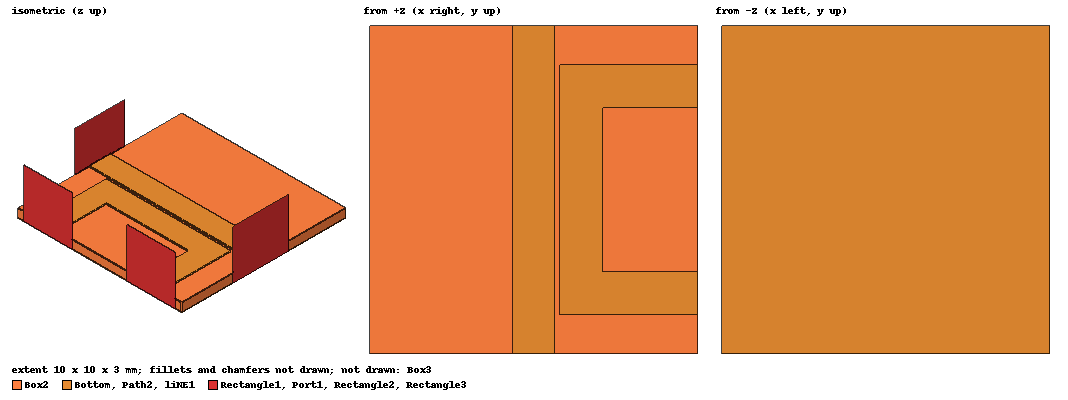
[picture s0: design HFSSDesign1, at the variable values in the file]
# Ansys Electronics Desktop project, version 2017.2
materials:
  vacuum: permittivity=1
  copper: permeability=0.999991 conductivity=58000000
  Rogers RO3003 (tm): permittivity=3 dielectric_loss_tangent=0.0013

design HFSSDesign1 (HFSS, DrivenModal, model units mm)
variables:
  Xdim = 10mm
  Ydim = 10mm
  CopperH = 35um
  SuBH = 0.02in
  W50 = 1.3mm
  Coupling = 6mil
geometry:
  Bottom [copper] = box(corner=(-Xdim/2, -Ydim/2, 0mm), size=(Xdim, Ydim, CopperH))
  Box2 [Rogers RO3003 (tm)] = box(corner=(-Xdim/2, -Ydim/2, CopperH), size=(Xdim, Ydim, SubH))
  liNE1 [copper] = box(corner=(-W50/2, -Ydim/2, CopperH+SubH), size=(W50, Ydim, CopperH))
  Path2 [copper] = box(corner=(W50/2+Coupling, -Ydim/4, SubH+CopperH), size=(W50, Ydim/2, CopperH))
  Path2port3 = box(corner=(W50/2+Coupling, -Ydim/4, SubH+CopperH), size=(Xdim/2-W50/2-Coupling, -W50, CopperH))
  Path2port4 = box(corner=(W50/2+Coupling, Ydim/4, SubH+CopperH), size=(Xdim/2-W50/2-Coupling, W50, CopperH))
  Path2.unite(Path2port3, Path2port4)
  Path2.chamfer(Edges=Path2.edge(9 of 12) LeftDistance=1.4mm RightDistance=1.4mm ChamferType=Symmetric)
  Path2.chamfer(Edges=Path2.edge(11 of 12) LeftDistance=1.4mm RightDistance=1.4mm ChamferType=Symmetric)
  Port1 [copper] = rectangle(corner=(1.5mm, -Ydim/2, 0), z_size=3mm, x_size=-3mm)
  Rectangle1 [copper] = rectangle(corner=(-1.5mm, Ydim/2, 0mm), z_size=3mm, x_size=3.4mm)
  Rectangle2 [copper] = rectangle(corner=(xdim/2, -Ydim/4-W50/2-1.5 mm, 0mm), y_size=3mm, z_size=3mm)
  Rectangle3 [copper] = rectangle(corner=(xdim/2, Ydim/4+W50/2-1.5 mm, 0mm), y_size=3mm, z_size=3mm)
  Box3 [vacuum] = box(corner=(-20mm, -20mm, -20mm), size=(40mm, 40mm, 40mm))
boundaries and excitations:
  1: Lumped Port Objects=Port1 Modes{Mode1{IntLine{Port1.edge(z at corner) at 0.567 along -> middle of Port1.edge(z opposite corner)} CharImp=Zpi RenormImp=50ohm}} Impedance=50ohm
  2: Lumped Port Objects=Rectangle1 Modes{Mode1{IntLine{middle of Rectangle1.edge(z at corner) -> middle of Rectangle1.edge(z opposite corner)} CharImp=Zpi RenormImp=50ohm}} Impedance=50ohm
  3: Lumped Port Objects=Rectangle3 Modes{Mode1{IntLine{middle of Rectangle3.edge(z at corner) -> Rectangle3.edge(z opposite corner) at 0.48 along} CharImp=Zpi RenormImp=50ohm}} Impedance=50ohm
  4: Lumped Port Objects=Rectangle2 Modes{Mode1{IntLine{Rectangle2.edge(z at corner) at 0.547 along -> Rectangle2.edge(z opposite corner) at 0.453 along} CharImp=Zpi RenormImp=50ohm}} Impedance=50ohm
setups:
  Setup1: HfssDriven AdaptMultipleFreqs MultipleAdaptiveFreqsSetup{Broadband{Low=23.5GHz High=24.5GHz}} MaxDeltaS=0.01 MaximumPasses=6 MinimumPasses=1 MinimumConvergedPasses=1 PercentRefinement=30 BasisOrder=1 PortAccuracy=2 RayDensityPerWavelength=4 MaxNumberOfBounces=5 SkipSBRSolveDuringAdaptivePasses
    sweep Sweep: 23.5GHz to 24.5GHz, 451 points; Type=Interpolating InterpTolerance=0.5 InterpMaxSolns=250 InterpUsePortImped=false PassivityErrorTolerance=0.0001
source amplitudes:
  1:1: 1W 0deg
  2:1, 3:1, 4:1: 0W 0deg
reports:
  S Parameter Plot 1: dB(S(1,1)), dB(S(2,1)), dB(S(3,1)), dB(S(4,1)) vs Freq on Setup1 : Sweep; markers m1 at 24.002222GHz, m2 at 23.997778GHz, m3 at 24.002222GHz
